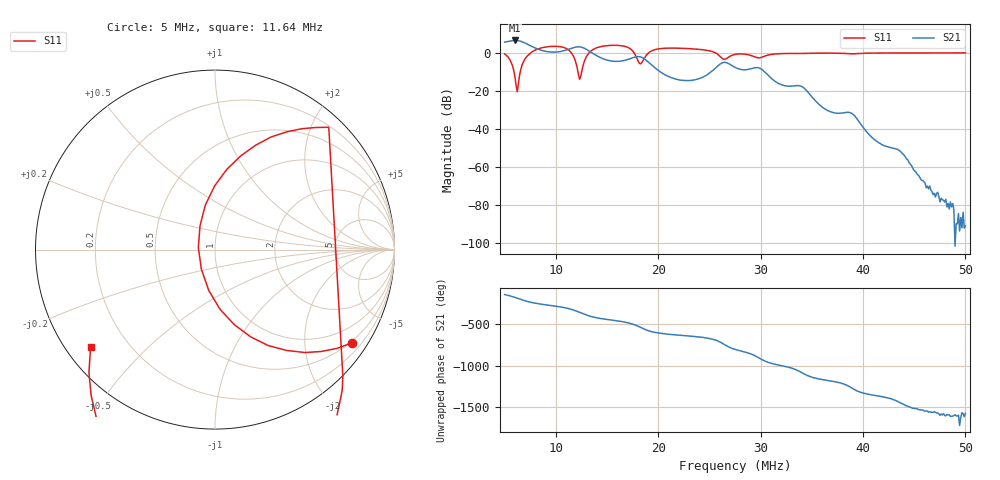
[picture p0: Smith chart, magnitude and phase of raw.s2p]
! S11/S21 only; reverse parameters are placeholders. Device calibration unverified.
! NanoVNA F V2 profile | COM3 | 2026-09-08T11:56:38.3657916-04:00 | device calibration unverified
# HZ S RI R 50
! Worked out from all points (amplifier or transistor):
!   401 points, 5 MHz to 50 MHz, reference 50 ohm
!   highest |S21| = 6.4 dB at 6.013 MHz (marker M1)
!   |S21| within 3 dB of that: start of sweep to 7.61 MHz
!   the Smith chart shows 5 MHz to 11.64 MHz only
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5000000  0.763 -0.5201  -1.496 -1.143  0 0  0 0
6012500  -0.035 -0.227  -2.08 -0.0908  0 0  0 0
7250000  0.4833 0.6735  -1.125 1.201  0 0  0 0
7812500  0.6952 -0.8504  -0.6369 1.23  0 0  0 0
1.00625e7  -0.0453 -1.458  0.2522 1.003  0 0  0 0
1.1525e7  -0.7024 -0.6842  1.009 0.8161  0 0  0 0
1.25375e7  0.2303 0.2272  1.362 -0.1981  0 0  0 0
1.34375e7  1.062 -0.2933  0.6994 -0.7443  0 0  0 0
1.45625e7  1.109 -0.9613  0.187 -0.6709  0 0  0 0
1.68125e7  0.1564 -1.433  -0.2789 -0.5676  0 0  0 0
1.7825e7  -0.6874 -0.416  -0.6913 -0.3435  0 0  0 0
1.86125e7  0.2791 0.6276  -0.6587 0.213  0 0  0 0
1.92875e7  1.02 0.358  -0.3344 0.3563  0 0  0 0
2.0075e7  1.255 -0.0427  -0.1315 0.3019  0 0  0 0
2.37875e7  1.037 -0.6557  0.0702 0.185  0 0  0 0
2.62625e7  0.5149 -0.4669  0.5305 -0.0872  0 0  0 0
2.75e7  0.818 -0.3615  0.0516 -0.4055  0 0  0 0
3.05375e7  0.7632 -0.3312  -0.1846 0.2179  0 0  0 0
3.50375e7  0.6996 -0.6582  0.0342 -0.0574  0 0  0 0
4.2575e7  0.4445 -0.8692  0.0021 0.00242  0 0  0 0
4.775e7  0.2468 -0.9468  -0.000119 -6.3e-05  0 0  0 0
5e7  0.1782 -0.9628  -1.9e-05 -2e-05  0 0  0 0
